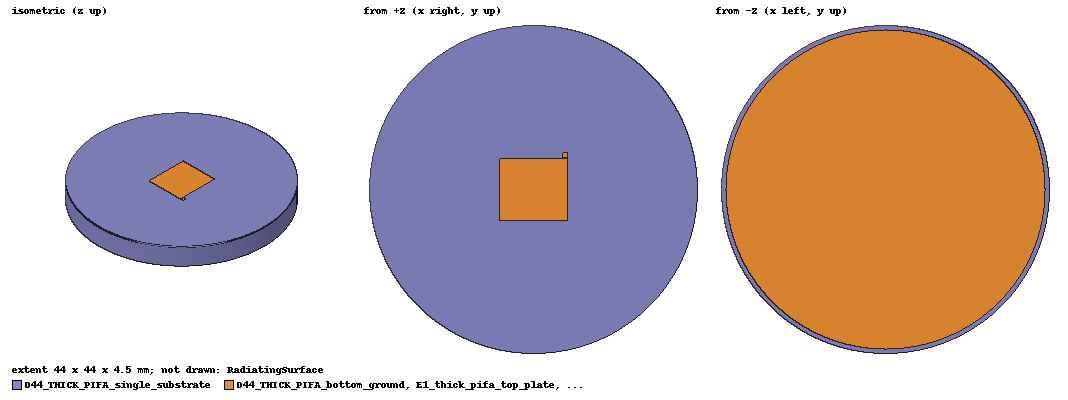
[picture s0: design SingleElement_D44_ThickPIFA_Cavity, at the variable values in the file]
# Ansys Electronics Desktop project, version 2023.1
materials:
  vacuum: permittivity=1
  RO4350B_custom_D44_Topology: permittivity=3.48 permeability=1 dielectric_loss_tangent=0.0037
  copper: permeability=0.999991 conductivity=58000000
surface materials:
  Steel-oxidised-surface

design SingleElement_D44_ThickPIFA_Cavity (HFSS, HFSS Modal Network, model units mm)
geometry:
  D44_THICK_PIFA_single_substrate [RO4350B_custom_D44_Topology] = cylinder(axis=Z, base_centre=(0mm, 0mm, 0mm), radius=22mm, height=4.5mm, segments=128)
  D44_THICK_PIFA_bottom_ground [copper] = circle(normal=Z, centre=(0mm, 0mm, 0mm), radius=21.4mm, segments=128)
  E1_thick_pifa_top_plate [copper] = polyline(z=4.5mm, xy in mm: (-4.6, -4.2) (4.6, -4.2) (4.6, 4.2) (-4.6, 4.2) (-4.6, -4.2), closed, covered)
  E1_thick_pifa_short_wall [copper] = polyline(x=-4.6mm, yz in mm: (-2, 0) (2, 0) (2, 4.5) (-2, 4.5) (-2, 0), closed, covered)
  E1_thick_pifa_side_fence_pos [copper] = polyline(y=4.2mm, xz in mm: (-4.6, 0) (1.4, 0) (1.4, 4.5) (-4.6, 4.5) (-4.6, 0), closed, covered)
  E1_thick_pifa_side_fence_neg [copper] = polyline(y=-4.2mm, xz in mm: (-4.6, 0) (1.4, 0) (1.4, 4.5) (-4.6, 4.5) (-4.6, 0), closed, covered)
  E1_thick_pifa_match_feed_island [copper] = polyline(z=4.5mm, xy in mm: (3.85, 4.32) (4.55, 4.32) (4.55, 5.02) (3.85, 5.02) (3.85, 4.32), closed, covered)
  P1_lumped_port_sheet = polyline(y=4.67mm, xz in mm: (3.925, 0) (4.475, 0) (4.475, 4.5) (3.925, 4.5) (3.925, 0), closed, covered)
  E1_thick_pifa_series_match_sheet = polyline(z=4.5mm, xy in mm: (4.03, 4.2) (4.37, 4.2) (4.37, 4.32) (4.03, 4.32) (4.03, 4.2), closed, covered)
  E1_thick_pifa_shunt_match_switch_off_load_sheet = polyline(y=4.67mm, xz in mm: (3.925, 0) (4.475, 0) (4.475, 4.5) (3.925, 4.5) (3.925, 0), closed, covered)
  RadiatingSurface [vacuum] = region(absolute_offset=14.285714mm on all sides)
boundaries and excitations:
  E1_thick_pifa_series_match: Lumped RLC Objects=E1_thick_pifa_series_match_sheet CurrentLine{(4.2, 4.32, 4.5) -> (4.2, 4.2, 4.5)} RLC_Type=Serial Capacitance=2.5e-13f
  E1_thick_pifa_shunt_match_switch_off_load: Lumped RLC Objects=E1_thick_pifa_shunt_match_switch_off_load_sheet CurrentLine{(4.2, 4.67, 4.5) -> (4.2, 4.67, 0)} RLC_Type=Parallel Inductance=5.6e-09H
  D44_THICK_PIFA_PEC_metallization: Perfect E Objects=[D44_THICK_PIFA_bottom_ground, E1_thick_pifa_top_plate, E1_thick_pifa_short_wall, E1_thick_pifa_side_fence_pos, E1_thick_pifa_side_fence_neg, E1_thick_pifa_match_feed_island]
  Open1: Radiation Objects=RadiatingSurface
  P1: Lumped Port Objects=P1_lumped_port_sheet LumpedPortType=Modal Modes{Mode1{IntLine{(4.2, 4.67, 4.5) -> (4.2, 4.67, 0)} CharImp=Zpi RenormImp=50ohm}} Impedance=50ohm
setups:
  Setup_CH9: HfssDriven Frequency=8GHz MaxDeltaS=0.03 MaximumPasses=5 MinimumPasses=2 MinimumConvergedPasses=1 PercentRefinement=30 BasisOrder=1 PortAccuracy=2 DrivenSolverType="Direct Solver"
    sweep Sweep_CH9: point 8GHz; SaveSingleField Type=Discrete SaveFields SaveRadFields
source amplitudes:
  P1:1: 1W 0deg
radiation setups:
  3D: Infinite Sphere Theta=0deg..180deg step 2deg Phi=-180deg..180deg step 2deg
  Elevation: Infinite Sphere Theta=-180deg..180deg step 1deg Phi=0deg..90deg step 90deg
  Azimuth: Infinite Sphere Theta=90deg..90deg step 0deg Phi=-180deg..180deg step 1deg
  Upper_Hemisphere_5deg: Infinite Sphere Theta=0deg..360deg step 5deg Phi=0deg..90deg step 5deg
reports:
  D44_THICK_PIFA_SINGLE_S_Parameters: dB(S(P1:1,P1:1)) vs Freq on Setup_CH9 : Sweep_CH9
  D44_THICK_PIFA_SINGLE_GainTotal_8GHz: dB(GainTotal) vs Phi, Theta on Setup_CH9 : Sweep_CH9, Upper_Hemisphere_5deg [Freq=8GHz]
  D44_THICK_PIFA_SINGLE_AxialRatio_8GHz: AxialRatioValue vs Phi, Theta on Setup_CH9 : Sweep_CH9, Upper_Hemisphere_5deg [Freq=8GHz]
